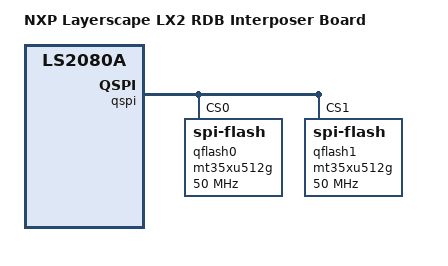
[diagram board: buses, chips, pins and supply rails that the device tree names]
/*
 * NXP LX2 RDB interposer device tree source for QSPI-boot
 *
 * Author: Sriram Dash <sriram.dash@nxp.com>
 *
 * Copyright 2017-2018 NXP
 *
 * SPDX-License-Identifier:	GPL-2.0+
 */

/dts-v1/;

#include "fsl-ls2080a.dtsi"

/ {
	model = "NXP Layerscape LX2 RDB Interposer Board";
	compatible = "fsl,lx2-interposer-rdb1", "fsl,ls2080a";

	aliases {
		spi0 = &qspi;
	};
};

&qspi {
	bus-num = <0>;
	status = "okay";

	qflash0: mt35xu512g@0 {
		#address-cells = <1>;
		#size-cells = <1>;
		compatible = "spi-flash";
		spi-max-frequency = <50000000>;
		reg = <0>;
	};

	qflash1: mt35xu512g@1 {
		#address-cells = <1>;
		#size-cells = <1>;
		compatible = "spi-flash";
		spi-max-frequency = <50000000>;
		reg = <1>;
	};
};
